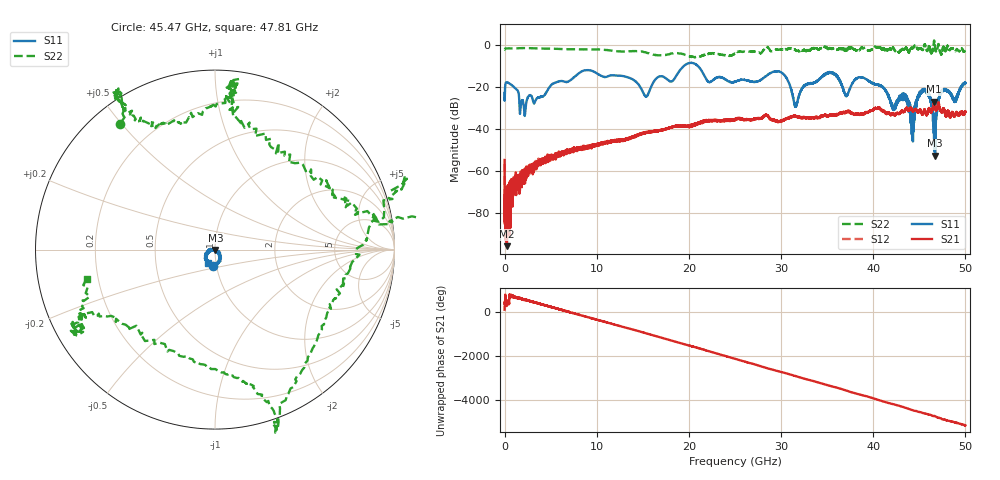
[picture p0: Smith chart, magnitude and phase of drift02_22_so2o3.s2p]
!Created with skrf (http://scikit-rf.org).
# Hz S RI R 50.0
!freq ReS11 ImS11 ReS21 ImS21 ReS12 ImS12 ReS22 ImS22
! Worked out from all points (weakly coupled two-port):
!   10001 points, 300 kHz to 50 GHz, reference 50 ohm
!   highest |S21| = -26.79 dB at 46.61 GHz (marker M1); lowest = -95.8 dB at 255.3 MHz (marker M2)
!   lowest |S11| = -52.6 dB at 46.71 GHz (marker M3), VSWR 1.00, Z = 50.2 - j0.138 ohm
!   |S11| at or under -10 dB: start of sweep to 19.41 GHz; 21 GHz to end of sweep
!   |S22| runs from -5.7 to 2.3 dB; largest |S21 - S12| = 0.0037
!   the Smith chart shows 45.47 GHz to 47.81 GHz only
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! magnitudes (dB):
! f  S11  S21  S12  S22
! 300 kHz  -22.7  -54.7  -56.4  -2.1
! 255.3 MHz  -17.6  -95.8  -70.0  -1.4
! 2.185 GHz  -33.7  -61.3  -63.4  -1.3
! 8.335 GHz  -12.5  -48.9  -49.1  -1.9
! 15.34 GHz  -24.4  -41.6  -41.7  -3.4
! 16.67 GHz  -15.1  -40.6  -40.7  -4.7
! 20.28 GHz  -8.4  -37.9  -38.4  -5.5
! 25 GHz  -17.4  -35.4  -35.5  -3.9
! 29.83 GHz  -12.6  -36.5  -36.5  -2.0
! 31.59 GHz  -29.4  -33.8  -34.1  -2.4
! 33.34 GHz  -18.1  -34.5  -34.7  -1.6
! 35.58 GHz  -13.3  -33.3  -33.3  -1.6
! 37.1 GHz  -24.2  -31.6  -31.6  -2.2
! 38.76 GHz  -15.3  -32.7  -32.6  -1.0
! 41.67 GHz  -24.4  -32.0  -32.1  -1.8
! 43.45 GHz  -23.8  -31.2  -31.0  -1.9
! 44.27 GHz  -34.1  -31.4  -31.1  -1.5
! 45.7 GHz  -21.7  -32.3  -32.6  -0.9
! 46.61 GHz  -39.6  -26.8  -26.7  2.3
! 46.71 GHz  -52.6  -30.0  -29.4  -1.0
! 47.47 GHz  -21.9  -31.5  -31.8  -3.4
! 50 GHz  -18.0  -31.6  -31.6  -2.7
